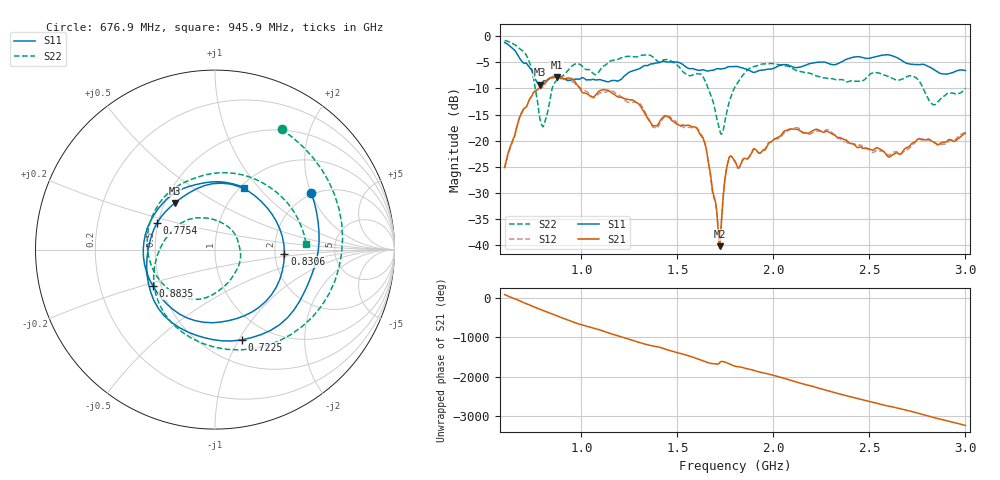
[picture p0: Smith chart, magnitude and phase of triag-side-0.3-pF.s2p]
#  HZ  S  RI  R  50.00
! Rohde & Schwarz ZVB8 2Ports - Version 2.81 - 1145.1010k08 SN: 100113
! Date: 2016-03-12 02:18:42
! Measurements: S11 S21 S12 S22
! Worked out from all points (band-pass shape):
!   1000 points, 600 MHz to 3 GHz, reference 50 ohm
!   highest |S21| = -7.79 dB at 871.5 MHz (marker M1); lowest = -40.3 dB at 1.72 GHz (marker M2)
!   |S21| within 3 dB of the highest: 750.2 MHz to 1.007 GHz (256.3 MHz wide, 29.2 % of centre); 1.084 GHz to 1.156 GHz (72.44 MHz wide, 6.47 % of centre)
!   lowest |S11| = -9.3 dB at 785 MHz (marker M3), VSWR 2.04, Z = 28.2 + j16.6 ohm
!   |S11| at or under -10 dB: nowhere
!   |S22| runs from -18.8 to -0.8 dB; largest |S21 - S12| = 0.026
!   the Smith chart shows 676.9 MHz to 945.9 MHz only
!   S11 on the Smith chart (normalised r, x): 676.9 MHz: 1.93, +2.01; 722.5 MHz: 0.74, -1.03; 775.4 MHz: 0.49, +0.17; 830.6 MHz: 2.26, -0.12; 883.5 MHz: 0.45, -0.22; 945.9 MHz: 1.04, +0.84
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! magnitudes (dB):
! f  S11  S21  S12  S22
! 600 MHz  -1.2  -25.1  -25.3  -0.8
! 676.9 MHz  -4.1  -15.7  -15.5  -2.3
! 722.5 MHz  -5.6  -12.7  -12.8  -4.3
! 775.4 MHz  -9.0  -10.1  -10.0  -13.6
! 785 MHz  -9.3  -9.9  -10.0  -16.0
! 830.6 MHz  -8.2  -8.1  -8.1  -13.4
! 871.5 MHz  -7.7  -7.8  -7.4  -8.4
! 883.5 MHz  -7.9  -8.0  -7.7  -8.0
! 945.9 MHz  -8.4  -8.1  -8.6  -5.9
! 1.001 GHz  -8.0  -10.6  -10.1  -5.6
! 1.297 GHz  -6.3  -12.9  -12.7  -3.8
! 1.4 GHz  -5.1  -16.8  -17.3  -4.9
! 1.621 GHz  -6.5  -18.9  -18.6  -7.2
! 1.72 GHz  -6.2  -40.3  -40.1  -17.9
! 1.76 GHz  -5.9  -24.6  -24.5  -14.0
! 1.801 GHz  -5.8  -24.0  -24.2  -9.6
! 1.943 GHz  -6.5  -22.0  -21.8  -5.3
! 2.2 GHz  -5.2  -18.2  -18.6  -7.2
! 2.601 GHz  -3.6  -23.1  -22.8  -7.8
! 2.738 GHz  -5.4  -20.2  -20.4  -7.8
! 2.834 GHz  -6.3  -20.3  -20.3  -13.1
! 3 GHz  -6.6  -18.5  -18.5  -9.9
